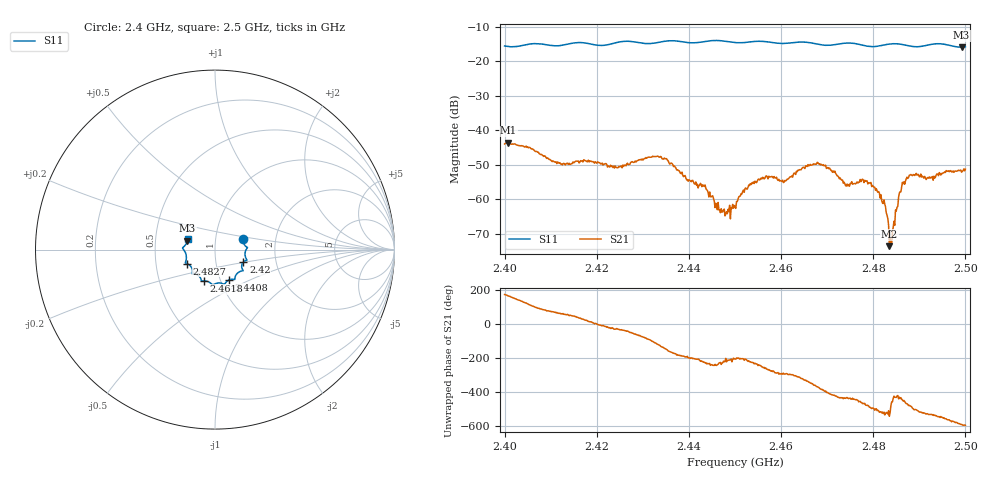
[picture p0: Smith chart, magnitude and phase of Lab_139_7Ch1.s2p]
# Hz S RI R 50
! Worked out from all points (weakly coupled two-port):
!   601 points, 2.4 GHz to 2.5 GHz, reference 50 ohm
!   highest |S21| = -43.59 dB at 2.4008 GHz (marker M1); lowest = -73.7 dB at 2.4835 GHz (marker M2)
!   lowest |S11| = -15.8 dB at 2.4992 GHz (marker M3), VSWR 1.38, Z = 36.5 + j3.71 ohm
!   |S11| at or under -10 dB: start of sweep to end of sweep
!   S12 and S22 are empty: the file has one direction only
!   S11 on the Smith chart (normalised r, x): 2.4 GHz: 1.36, +0.17; 2.42 GHz: 1.36, -0.19; 2.4408 GHz: 1.10, -0.38; 2.4618 GHz: 0.84, -0.30; 2.4827 GHz: 0.72, -0.12; 2.5 GHz: 0.73, +0.09
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2.4e9  0.1559 0.0618  -0.0063 0.000506  0 0  0 0
2.400833e9  0.156 0.052  -0.00644 0.0015  0 0  0 0
2.412167e9  0.1675 -0.0318  0.00149 0.00287  0 0  0 0
2.416667e9  0.1781 -0.0594  0.00304 0.00189  0 0  0 0
2.42e9  0.1579 -0.0693  0.00332 0.000144  0 0  0 0
2.433333e9  0.112 -0.1521  -0.00204 -0.00366  0 0  0 0
2.440833e9  0.0788 -0.1687  -0.00174 0.000701  0 0  0 0
2.447e9  0.049 -0.1936  -0.000404 0.000601  0 0  0 0
2.45e9  0.0279 -0.1859  -0.00071 0.000319  0 0  0 0
2.4555e9  -0.013 -0.1958  -0.000894 0.00173  0 0  0 0
2.461833e9  -0.06 -0.1751  0.000818 0.0019  0 0  0 0
2.466667e9  -0.077 -0.1684  0.00307 0.000601  0 0  0 0
2.474333e9  -0.1262 -0.1352  0.000539 -0.00156  0 0  0 0
2.479e9  -0.1289 -0.1043  -0.000893 -0.00147  0 0  0 0
2.482667e9  -0.1571 -0.0777  -0.000741 -0.000218  0 0  0 0
2.483333e9  -0.1611 -0.0763  -0.000358 -0.000215  0 0  0 0
2.4835e9  -0.1618 -0.0764  -0.000207 4.23e-06  0 0  0 0
2.484e9  -0.1638 -0.0753  -2.92e-05 -0.000225  0 0  0 0
2.486e9  -0.164 -0.0686  0.000406 -0.00121  0 0  0 0
2.487667e9  -0.1601 -0.0539  -0.000972 -0.00183  0 0  0 0
2.499167e9  -0.1535 0.0495  -0.00161 0.00186  0 0  0 0
2.5e9  -0.1517 0.0613  -0.00155 0.00224  0 0  0 0
